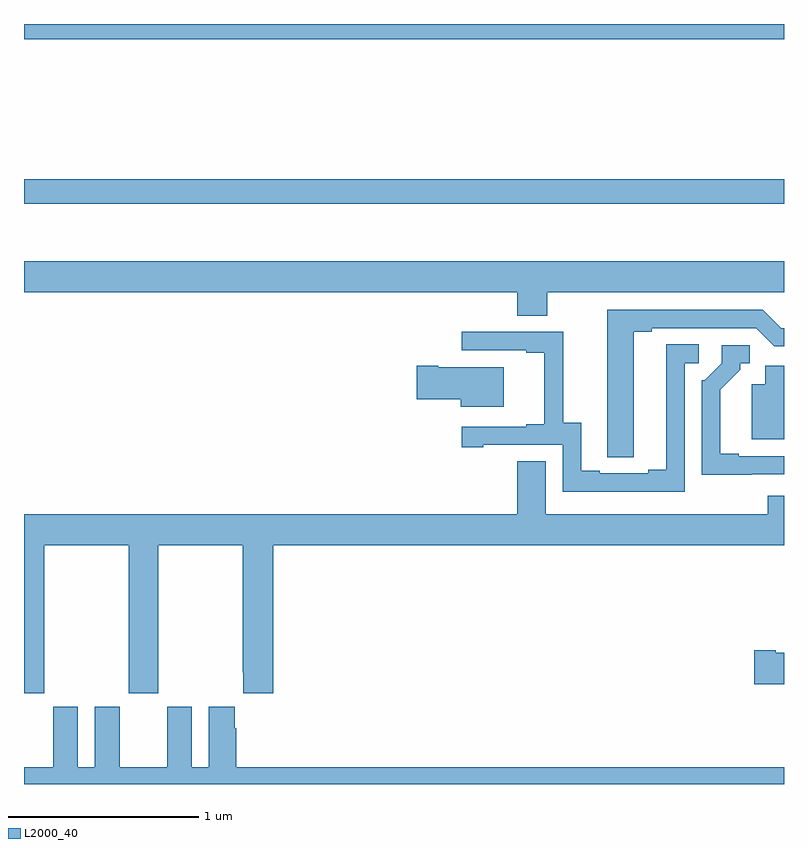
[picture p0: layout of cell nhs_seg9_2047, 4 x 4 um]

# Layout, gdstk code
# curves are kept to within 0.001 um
import gdstk
lib = gdstk.Library(unit=1e-6, precision=1e-09)
def R(c, l, rs):  # rectangles x0, y0, x1, y1
    for r in rs: c.add(gdstk.rectangle(r[:2], r[2:], *l))
def P(c, l, *ps):  # polygons
    for p in ps: c.add(gdstk.Polygon(p, *l))
L2000_40 = (2000, 40)

nhs_seg9_2047 = lib.new_cell('nhs_seg9_2047')
R(nhs_seg9_2047, L2000_40, [(227,1195.554,231,1195.682), (227,1196.42,231,1196.5)])
P(nhs_seg9_2047, L2000_40, [(229.755,1195.088),(231,1195.088),(231,1195.252),(227,1195.252),(227,1195.088),(229.595,1195.088),(229.595,1194.964),(229.755,1194.964)],
  [(230.209,1194.88),(230.305,1194.88),(230.305,1194.9),(230.853,1194.9),(230.949,1194.804),(231,1194.804),(231,1194.9),(230.985,1194.9),(230.889,1194.996),(230.069,1194.996),(230.07,1194.22),(230.209,1194.22)],
  [(230.478,1194.714),(230.551,1194.714),(230.551,1194.815),(230.381,1194.815),(230.381,1194.155),(230.285,1194.155),(230.285,1194.135),(230.029,1194.135),(230.029,1194.15),(229.933,1194.15),(229.933,1194.401),(229.839,1194.401),(229.839,1194.879),(229.305,1194.879),(229.305,1194.783),(229.643,1194.783),(229.643,1194.771),(229.739,1194.771),(229.739,1194.394),(229.643,1194.394),(229.643,1194.381),(229.305,1194.381),(229.305,1194.273),(229.417,1194.273),(229.417,1194.285),(229.836,1194.285),(229.836,1194.039),(230.478,1194.039)],
  [(230.831,1194.129),(231,1194.129),(231,1194.225),(230.761,1194.225),(230.761,1194.238),(230.665,1194.238),(230.665,1194.574),(230.77,1194.679),(230.77,1194.714),(230.82,1194.714),(230.82,1194.81),(230.673,1194.81),(230.673,1194.714),(230.583,1194.624),(230.568,1194.624),(230.568,1194.128)],
  [(229.525,1194.694),(229.18,1194.694),(229.18,1194.702),(229.068,1194.702),(229.068,1194.524),(229.298,1194.524),(229.298,1194.485),(229.525,1194.485)],
  [(231,1194.702),(230.9,1194.702),(230.9,1194.604),(230.831,1194.604),(230.831,1194.314),(231,1194.314)],
  [(227.106,1193.756),(227.551,1193.756),(227.551,1192.977),(227.706,1192.977),(227.706,1193.756),(228.151,1193.756),(228.151,1193.089),(228.155,1193.089),(228.155,1192.977),(228.311,1192.977),(228.311,1193.756),(231,1193.756),(231,1194.018),(230.915,1194.018),(230.915,1193.92),(229.747,1193.92),(229.747,1194.2),(229.595,1194.2),(229.595,1193.92),(227,1193.92),(227,1192.977),(227.106,1192.977)],
  [(231,1193.191),(230.956,1193.191),(230.956,1193.204),(230.844,1193.204),(230.844,1193.026),(231,1193.026)],
  [(231,1192.588),(228.116,1192.588),(228.116,1192.793),(228.109,1192.793),(228.109,1192.906),(227.972,1192.906),(227.972,1192.588),(227.884,1192.588),(227.884,1192.906),(227.753,1192.906),(227.753,1192.588),(227.503,1192.588),(227.503,1192.906),(227.372,1192.906),(227.372,1192.588),(227.284,1192.588),(227.284,1192.906),(227.153,1192.906),(227.153,1192.588),(227,1192.588),(227,1192.5),(231,1192.5)])

lib.write_gds('nhs_seg9_2047.gds')
